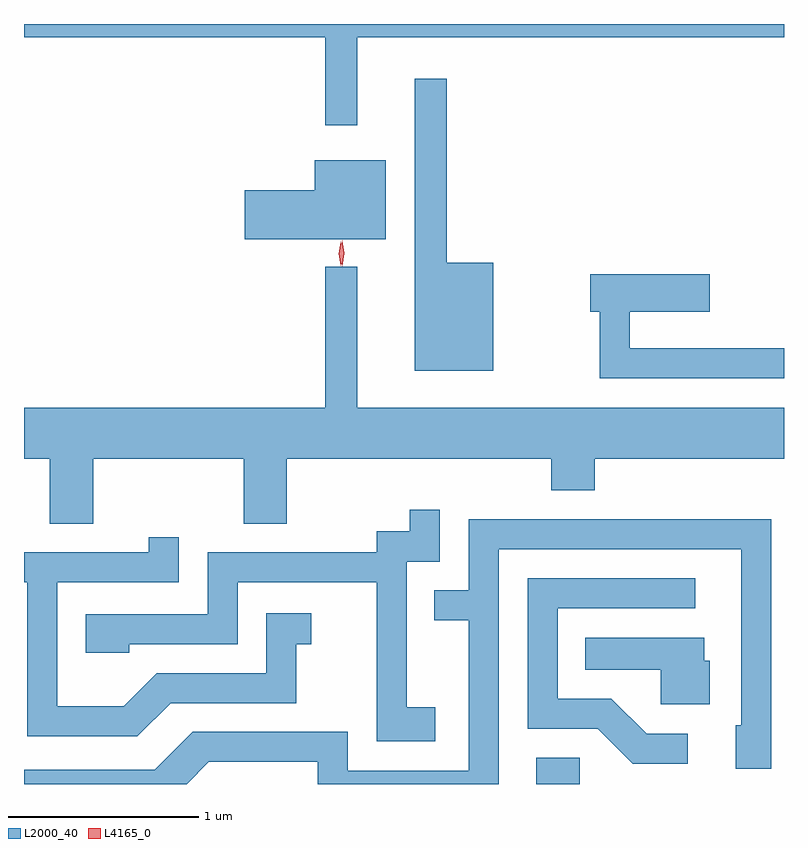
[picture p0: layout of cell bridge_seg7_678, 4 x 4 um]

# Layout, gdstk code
import gdstk
lib = gdstk.Library(unit=1e-6, precision=1e-09)
def R(c, l, rs):  # rectangles x0, y0, x1, y1
    for r in rs: c.add(gdstk.rectangle(r[:2], r[2:], *l))
def P(c, l, *ps):  # polygons
    for p in ps: c.add(gdstk.Polygon(p, *l))
L2000_40 = (2000, 40)
L4165_0 = (4165, 0)

bridge_seg7_678 = lib.new_cell('bridge_seg7_678')
R(bridge_seg7_678, L2000_40, [(957.941,1712.605,958.169,1712.744)])
P(bridge_seg7_678, L2000_40, [(956.999,1716.536),(959.245,1716.536),(959.245,1716.605),(955.245,1716.605),(955.245,1716.536),(956.831,1716.536),(956.831,1716.073),(956.999,1716.073)],
  [(957.714,1715.349),(957.469,1715.349),(957.469,1716.318),(957.301,1716.318),(957.301,1714.781),(957.714,1714.781)],
  [(957.149,1715.889),(956.776,1715.889),(956.776,1715.729),(956.406,1715.729),(956.406,1715.471),(957.149,1715.471)],
  [(955.609,1714.316),(956.401,1714.316),(956.401,1713.976),(956.629,1713.976),(956.629,1714.316),(958.021,1714.316),(958.021,1714.151),(958.249,1714.151),(958.249,1714.316),(959.245,1714.316),(959.245,1714.584),(956.999,1714.584),(956.999,1715.328),(956.831,1715.328),(956.831,1714.584),(955.245,1714.584),(955.245,1714.316),(955.381,1714.316),(955.381,1713.976),(955.609,1713.976)],
  [(959.245,1714.899),(958.434,1714.899),(958.434,1715.091),(958.854,1715.091),(958.854,1715.289),(958.226,1715.289),(958.226,1715.091),(958.276,1715.091),(958.276,1714.741),(959.245,1714.741)],
  [(957.409,1713.009),(957.259,1713.009),(957.259,1713.776),(957.434,1713.776),(957.434,1714.048),(957.276,1714.048),(957.276,1713.934),(957.101,1713.934),(957.101,1713.824),(956.211,1713.824),(956.211,1713.499),(955.571,1713.499),(955.571,1713.296),(955.799,1713.296),(955.799,1713.341),(956.369,1713.341),(956.369,1713.666),(957.101,1713.666),(957.101,1712.831),(957.409,1712.831)],
  [(956.217,1712.721),(956.791,1712.721),(956.791,1712.605),(957.744,1712.605),(957.744,1713.841),(959.021,1713.841),(959.021,1712.914),(958.991,1712.914),(958.991,1712.686),(959.179,1712.686),(959.179,1713.999),(957.586,1713.999),(957.586,1713.624),(957.403,1713.624),(957.403,1713.466),(957.586,1713.466),(957.586,1712.674),(956.949,1712.674),(956.949,1712.879),(956.134,1712.879),(955.934,1712.679),(955.245,1712.679),(955.245,1712.605),(956.101,1712.605)],
  [(956.017,1713.031),(956.679,1713.031),(956.679,1713.341),(956.758,1713.341),(956.758,1713.504),(956.521,1713.504),(956.521,1713.189),(955.944,1713.189),(955.769,1713.014),(955.419,1713.014),(955.419,1713.666),(956.059,1713.666),(956.059,1713.903),(955.901,1713.903),(955.901,1713.824),(955.245,1713.824),(955.245,1713.666),(955.261,1713.666),(955.261,1712.856),(955.842,1712.856)],
  [(958.738,1712.869),(958.522,1712.869),(958.337,1713.054),(958.054,1713.054),(958.054,1713.531),(958.778,1713.531),(958.778,1713.689),(957.896,1713.689),(957.896,1712.896),(958.264,1712.896),(958.449,1712.711),(958.738,1712.711)],
  [(958.854,1713.254),(958.824,1713.254),(958.824,1713.374),(958.198,1713.374),(958.198,1713.206),(958.596,1713.206),(958.596,1713.026),(958.854,1713.026)])
P(bridge_seg7_678, L4165_0, [(956.919,1715.33),(956.919,1715.33),(956.91,1715.398),(956.92,1715.465),(956.921,1715.466),(956.921,1715.465),(956.93,1715.398),(956.92,1715.33)],
  [(956.911,1715.333),(956.902,1715.396),(956.911,1715.459),(956.912,1715.46),(956.912,1715.459),(956.922,1715.396),(956.912,1715.333),(956.912,1715.333)])

lib.write_gds('bridge_seg7_678.gds')
